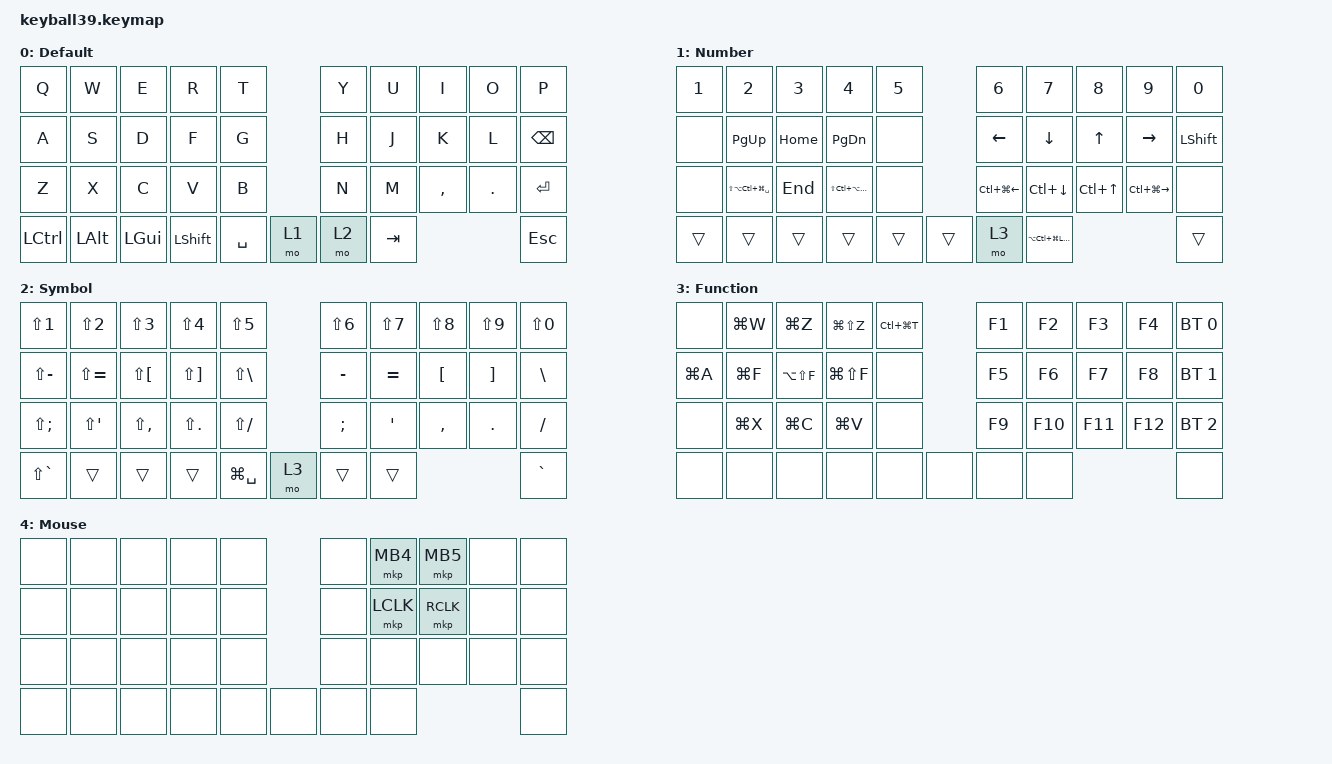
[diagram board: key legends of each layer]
#define DEFAULT 0
#define NUM     1
#define SYM     2
#define FUN     3
#define MOUSE   4
#define SCROLL  5
#define SNIPE   6

#include <behaviors/mouse_keys.dtsi>
#include <dt-bindings/zmk/mouse.h>
#include <behaviors.dtsi>
#include <dt-bindings/zmk/bt.h>
#include <dt-bindings/zmk/keys.h>
#include <dt-bindings/zmk/pointing.h>

&lt {
    tapping-term-ms = <240>;
    flavor = "balanced";
    quick-tap-ms = <150>;
};

&mt {
    tapping-term-ms = <200>;
    flavor = "tap-preferred";
    quick-tap-ms = <150>;
};

&caps_word { continue-list = <UNDERSCORE MINUS>; };

/ {
    // custom shift using mod-morph 

    behaviors {
        cmqus: comma_question {
            compatible = "zmk,behavior-mod-morph";
            label = "COMMA_QUESTION";
            #binding-cells = <0>;
            bindings = <&kp COMMA>, <&kp QUESTION>;

            mods = <(MOD_LSFT|MOD_RSFT)>;
        };

        dtsmi: dot_semi {
            compatible = "zmk,behavior-mod-morph";
            label = "DOT_SEMI";
            #binding-cells = <0>;
            bindings = <&kp DOT>, <&kp SEMI>;

            mods = <(MOD_LSFT|MOD_RSFT)>;
        };
    };

    macros {
        Hiragana: Hiragana {
            compatible = "zmk,behavior-macro";
            #binding-cells = <0>;
            bindings = <&kp LC(SPACE)>;
            label = "HIRAGANA";
        };
    };

    combos {
        compatible = "zmk,combos";

        mouse {
            bindings = <&mo 4>;
            key-positions = <12 13>;
        };
    };

    keymap {
        compatible = "zmk,keymap";

        default_layer {
            label = "Default";
            bindings = <
&kp Q      &kp W     &kp E     &kp R           &kp T                    &kp Y    &kp U  &kp I      &kp O    &kp P
&kp A      &kp S     &kp D     &kp F           &kp G                    &kp H    &kp J  &kp K      &kp L    &kp BSPC
&kp Z      &kp X     &kp C     &kp V           &kp B                    &kp N    &kp M  &kp COMMA  &kp DOT  &kp ENTER
&kp LCTRL  &kp LALT  &kp LGUI  &kp LEFT_SHIFT  &kp SPACE  &mo 1  &mo 2  &kp TAB                             &kp ESCAPE
            >;
        };

        number_layer {
            label = "Number";
            bindings = <
&kp N1  &kp N2                     &kp N3    &kp N4                   &kp N5                 &kp N6                      &kp N7              &kp N8            &kp N9             &kp N0
&none   &kp PAGE_UP                &kp HOME  &kp PAGE_DOWN            &none                  &kp LEFT                    &kp DOWN            &kp UP            &kp RIGHT          &kp LEFT_SHIFT
&none   &kp LS(LA(LC(LG(SPACE))))  &kp END   &kp LS(LC(LA(LG(TAB))))  &none                  &kp LC(LG(LEFT_ARROW))      &kp LC(DOWN_ARROW)  &kp LC(UP_ARROW)  &kp LC(LG(RIGHT))  &none
&trans  &trans                     &trans    &trans                   &trans  &trans  &mo 3  &kp LA(LC(LG(LEFT_SHIFT)))                                                           &trans
            >;
        };

        symbol_layer {
            label = "Symbol";
            bindings = <
&kp LS(NUMBER_1)  &kp LS(NUMBER_2)  &kp LS(NUMBER_3)  &kp LS(NUMBER_4)  &kp LS(NUMBER_5)                 &kp LS(NUMBER_6)  &kp LS(NUMBER_7)  &kp LS(NUMBER_8)  &kp LS(NUMBER_9)  &kp LS(NUMBER_0)
&kp LS(MINUS)     &kp LS(EQUAL)     &kp LS(LBKT)      &kp LS(RBKT)      &kp LS(BSLH)                     &kp MINUS         &kp EQUAL         &kp LBKT          &kp RBKT          &kp BSLH
&kp LS(SEMI)      &kp LS(APOS)      &kp LS(COMMA)     &kp LS(DOT)       &kp LS(FSLH)                     &kp SEMI          &kp APOS          &kp COMMA         &kp DOT           &kp FSLH
&kp LS(GRAVE)     &trans            &trans            &trans            &kp LG(SPACE)     &mo 3  &trans  &trans                                                                  &kp GRAVE
            >;
        };

        function_layer {
            label = "Function";
            bindings = <
&none      &kp LG(W)  &kp LG(Z)      &kp LG(LS(Z))  &kp LC(LG(T))                &kp F1  &kp F2   &kp F3   &kp F4   &bt BT_SEL 0
&kp LG(A)  &kp LG(F)  &kp LA(LS(F))  &kp LG(LS(F))  &none                        &kp F5  &kp F6   &kp F7   &kp F8   &bt BT_SEL 1
&none      &kp LG(X)  &kp LG(C)      &kp LG(V)      &none                        &kp F9  &kp F10  &kp F11  &kp F12  &bt BT_SEL 2
&none      &none      &none          &none          &none          &none  &none  &none                              &none
            >;
        };

        mouse_layer {
            bindings = <
&none  &none  &none  &none  &none                &none  &mkp MB4   &mkp MB5   &none  &none
&none  &none  &none  &none  &none                &none  &mkp LCLK  &mkp RCLK  &none  &none
&none  &none  &none  &none  &none                &none  &none      &none      &none  &none
&none  &none  &none  &none  &none  &none  &none  &none                               &none
            >;

            label = "Mouse";
        };
    };
};
